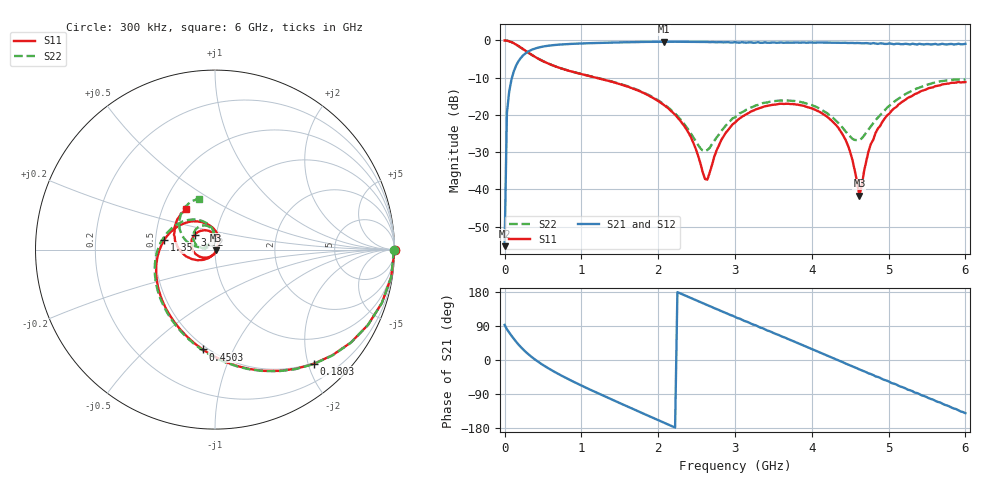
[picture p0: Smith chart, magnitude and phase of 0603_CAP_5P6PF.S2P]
!Agilent Technologies,E5071C,MY46106283,A.09.10
!Date: Tue Jan 23 23:50:16 2001
!Data & Calibration Information:
!Freq	S11:SOLT2(ON)	S41:SOLT2(ON)	S14:SOLT2(ON)	S44:SOLT2(ON)
# Hz S dB R 50
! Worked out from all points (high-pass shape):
!   201 points, 300 kHz to 6 GHz, reference 50 ohm
!   highest |S21| = -0.34 dB at 2.07 GHz (marker M1); lowest = -55.3 dB at 300 kHz (marker M2)
!   |S21| within 3 dB of the highest: 281.7 MHz to end of sweep
!   lowest |S11| = -41.7 dB at 4.62 GHz (marker M3), VSWR 1.02, Z = 50.8 - j0.301 ohm
!   |S11| at or under -10 dB: 1.19 GHz to end of sweep
!   |S22| runs from -29.8 to 0.0 dB; largest |S21 - S12| = 0.014
!   S11 on the Smith chart (normalised r, x): 300 kHz: open; 180.3 MHz: 0.48, -2.10; 450.3 MHz: 0.47, -0.77; 1.35 GHz: 0.56, +0.07; 3.72 GHz: 0.79, +0.13; 6 GHz: 0.66, +0.32
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300000  0.00 -0.2  -55.28 92.6  -60.61 153.4  -0.03 -0.1
3.02985e7  -0.06 -9.0  -19.50 81.1  -19.50 81.0  -0.06 -9.1
9.02955e7  -0.45 -26.2  -10.43 63.9  -10.43 63.8  -0.45 -26.3
1.80291e8  -1.50 -49.2  -5.59 41.0  -5.58 41.0  -1.50 -49.3
4.502775e8  -5.03 -97.0  -1.85 -6.5  -1.85 -6.5  -5.03 -97.8
1.020249e9  -9.15 -160.1  -0.80 -69.4  -0.80 -69.4  -9.13 -163.8
1.350232e9  -10.84 169.2  -0.61 -100.1  -0.61 -100.1  -10.78 164.1
2.0102e9  -16.41 108.0  -0.36 -159.6  -0.36 -159.6  -16.22 107.4
2.070196e9  -17.27 102.0  -0.34 -164.9  -0.35 -164.8  -17.06 103.2
2.40018e9  -24.98 64.5  -0.36 165.8  -0.36 165.9  -24.15 91.9
2.640168e9  -37.41 -46.2  -0.41 144.7  -0.39 144.7  -29.43 144.3
2.820159e9  -26.80 -122.6  -0.45 129.1  -0.42 129.1  -24.37 171.7
3.00015e9  -22.08 -145.1  -0.43 114.0  -0.41 114.2  -20.65 169.9
3.39013e9  -17.69 176.0  -0.49 80.9  -0.48 80.8  -16.73 146.9
3.720114e9  -17.09 144.5  -0.60 53.0  -0.60 52.7  -16.19 124.2
4.020099e9  -18.41 116.4  -0.60 27.0  -0.58 27.0  -17.55 105.0
4.440078e9  -26.72 70.4  -0.62 -9.3  -0.63 -9.1  -24.45 100.9
4.620069e9  -41.74 -21.2  -0.70 -24.8  -0.67 -24.6  -26.74 140.6
4.770062e9  -27.78 -118.1  -0.86 -37.1  -0.80 -37.1  -23.10 167.3
5.01005e9  -19.65 -145.1  -0.80 -57.4  -0.75 -57.2  -17.57 168.4
5.490026e9  -13.15 170.3  -0.97 -97.4  -0.90 -97.6  -12.00 142.1
6e9  -11.18 125.3  -0.90 -140.4  -0.89 -140.9  -10.53 108.0
